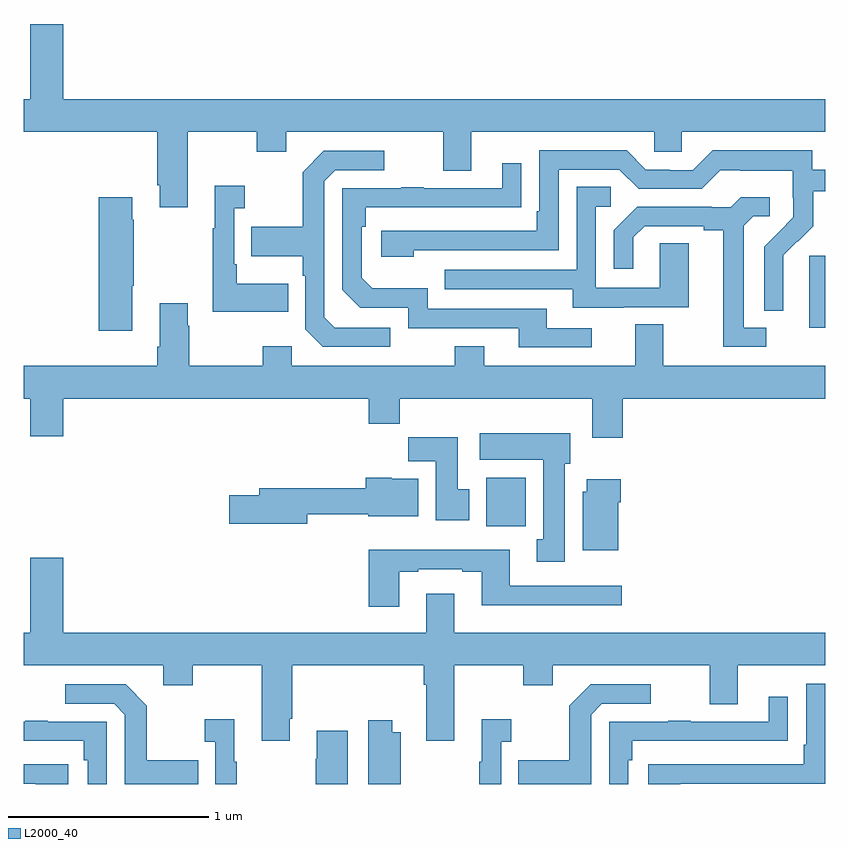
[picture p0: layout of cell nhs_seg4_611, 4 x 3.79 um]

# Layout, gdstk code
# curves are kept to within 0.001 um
import gdstk
lib = gdstk.Library(unit=1e-6, precision=1e-09)
def R(c, l, rs):  # rectangles x0, y0, x1, y1
    for r in rs: c.add(gdstk.rectangle(r[:2], r[2:], *l))
def P(c, l, *ps):  # polygons
    for p in ps: c.add(gdstk.Polygon(p, *l))
L2000_40 = (2000, 40)

nhs_seg4_611 = lib.new_cell('nhs_seg4_611')
R(nhs_seg4_611, L2000_40, [(143.309,792.188,143.506,792.43), (144.92,793.178,145,793.539)])
P(nhs_seg4_611, L2000_40, [(141.196,794.695),(141.032,794.695),(141.032,794.32),(141,794.32),(141,794.156),(141.665,794.156),(141.665,793.891),(141.677,793.891),(141.677,793.779),(141.817,793.779),(141.817,794.156),(142.162,794.156),(142.162,794.057),(142.309,794.057),(142.309,794.156),(143.093,794.156),(143.093,793.962),(143.233,793.962),(143.233,794.156),(144.147,794.156),(144.147,794.058),(144.285,794.058),(144.285,794.156),(145,794.156),(145,794.32),(141.196,794.32)],
  [(144.792,793.418),(144.791,793.541),(144.861,793.611),(144.864,793.608),(144.941,793.685),(144.941,793.86),(145,793.86),(145,793.968),(144.936,793.968),(144.936,794.065),(144.439,794.065),(144.339,793.965),(144.224,793.965),(144.224,793.968),(144.105,793.968),(144.009,794.064),(143.574,794.064),(143.574,793.759),(143.561,793.759),(143.561,793.662),(142.785,793.662),(142.785,793.532),(142.946,793.532),(142.946,793.566),(143.67,793.566),(143.67,793.968),(143.973,793.968),(144.069,793.872),(144.384,793.872),(144.477,793.965),(144.577,793.965),(144.577,793.961),(144.84,793.961),(144.84,793.827),(144.842,793.827),(144.842,793.73),(144.696,793.582),(144.696,793.264),(144.792,793.264)],
  [(142.828,793.179),(142.551,793.179),(142.5,793.23),(142.5,793.911),(142.554,793.965),(142.798,793.965),(142.798,794.061),(142.497,794.061),(142.392,793.955),(142.392,793.683),(142.135,793.683),(142.135,793.535),(142.392,793.535),(142.392,793.439),(142.404,793.439),(142.404,793.17),(142.491,793.083),(142.828,793.083)],
  [(143.836,793.176),(143.611,793.176),(143.611,793.272),(143.016,793.272),(143.016,793.375),(142.739,793.375),(142.686,793.428),(142.686,793.682),(142.706,793.682),(142.706,793.779),(143.483,793.78),(143.483,793.999),(143.387,793.999),(143.387,793.875),(142.997,793.875),(142.997,793.88),(142.885,793.88),(142.885,793.875),(142.59,793.875),(142.59,793.368),(142.68,793.278),(142.92,793.278),(142.92,793.176),(143.471,793.176),(143.471,793.08),(143.836,793.08)],
  [(142.319,793.399),(142.063,793.399),(142.063,793.495),(142.05,793.495),(142.05,793.775),(142.102,793.775),(142.102,793.888),(141.953,793.888),(141.953,793.675),(141.942,793.675),(141.942,793.259),(142.319,793.259)],
  [(143.995,793.281),(144.319,793.281),(144.319,793.601),(144.174,793.601),(144.174,793.377),(143.856,793.377),(143.856,793.782),(143.929,793.782),(143.929,793.883),(143.76,793.883),(143.76,793.467),(143.101,793.467),(143.101,793.371),(143.741,793.371),(143.741,793.277),(143.995,793.277)],
  [(141.541,793.387),(141.549,793.387),(141.549,793.718),(141.541,793.718),(141.541,793.831),(141.374,793.831),(141.374,793.164),(141.541,793.164)],
  [(144.706,793.179),(144.595,793.179),(144.595,793.687),(144.642,793.734),(144.724,793.734),(144.724,793.831),(144.58,793.831),(144.528,793.779),(144.434,793.779),(144.434,793.782),(144.062,793.782),(143.946,793.666),(143.946,793.473),(144.043,793.473),(144.043,793.629),(144.1,793.686),(144.395,793.686),(144.395,793.664),(144.491,793.664),(144.491,793.083),(144.706,793.083)],
  [(143.99,792.824),(145,792.824),(145,792.988),(144.193,792.988),(144.193,793.196),(144.053,793.196),(144.053,792.988),(143.299,792.988),(143.299,793.087),(143.152,793.087),(143.152,792.988),(142.338,792.988),(142.338,793.087),(142.192,793.087),(142.192,792.988),(141.825,792.988),(141.825,793.187),(141.817,793.187),(141.817,793.3),(141.677,793.3),(141.677,793.084),(141.665,793.084),(141.665,792.988),(141,792.988),(141,792.824),(141.032,792.824),(141.032,792.636),(141.196,792.636),(141.196,792.824),(142.721,792.824),(142.721,792.7),(142.877,792.7),(142.877,792.824),(143.837,792.824),(143.837,792.63),(143.99,792.63)],
  [(143.701,792.498),(143.728,792.498),(143.728,792.652),(143.277,792.652),(143.277,792.518),(143.594,792.518),(143.594,792.122),(143.561,792.122),(143.561,792.009),(143.701,792.009)],
  [(143.224,792.372),(143.167,792.372),(143.167,792.631),(142.918,792.631),(142.918,792.512),(143.057,792.512),(143.057,792.216),(143.224,792.216)],
  [(142.414,792.247),(142.718,792.247),(142.718,792.236),(142.969,792.236),(142.969,792.424),(142.836,792.424),(142.836,792.43),(142.706,792.43),(142.706,792.376),(142.175,792.376),(142.175,792.342),(142.026,792.342),(142.026,792.2),(142.414,792.2)],
  [(143.968,792.308),(143.981,792.308),(143.981,792.421),(143.81,792.421),(143.81,792.36),(143.789,792.36),(143.789,792.068),(143.968,792.068)],
  [(142.873,791.961),(142.969,791.961),(142.969,791.973),(143.189,791.973),(143.189,791.961),(143.285,791.961),(143.285,791.792),(143.986,791.792),(143.986,791.889),(143.425,791.889),(143.425,792.07),(142.721,792.07),(142.721,791.784),(142.873,791.784)],
  [(142.327,791.227),(142.34,791.227),(142.34,791.492),(142.997,791.492),(142.997,791.396),(143.009,791.396),(143.009,791.115),(143.149,791.115),(143.149,791.492),(143.494,791.492),(143.494,791.393),(143.641,791.393),(143.641,791.492),(144.425,791.492),(144.425,791.298),(144.565,791.298),(144.565,791.492),(145,791.492),(145,791.656),(143.149,791.656),(143.149,791.851),(143.009,791.851),(143.009,791.656),(141.196,791.656),(141.196,792.031),(141.032,792.031),(141.032,791.656),(141,791.656),(141,791.492),(141.695,791.492),(141.695,791.393),(141.843,791.393),(141.843,791.492),(142.187,791.492),(142.187,791.115),(142.327,791.115)],
  [(144.278,790.902),(145,790.902),(145,791.4),(144.906,791.4),(144.906,791.095),(144.893,791.095),(144.893,790.998),(144.117,790.998),(144.117,790.9),(144.278,790.9)],
  [(141.869,791.019),(141.613,791.019),(141.613,791.291),(141.507,791.397),(141.207,791.397),(141.207,791.301),(141.45,791.301),(141.504,791.247),(141.504,790.9),(141.869,790.9)],
  [(143.832,791.247),(143.886,791.301),(144.13,791.301),(144.13,791.397),(143.829,791.397),(143.724,791.291),(143.724,791.019),(143.467,791.019),(143.467,790.9),(143.832,790.9)],
  [(144.018,791.018),(144.038,791.018),(144.038,791.115),(144.713,791.115),(144.713,791.116),(144.815,791.116),(144.815,791.335),(144.719,791.335),(144.719,791.211),(144.329,791.211),(144.329,791.216),(144.217,791.216),(144.217,791.211),(143.922,791.211),(143.922,790.9),(144.018,790.9)],
  [(143.382,791.111),(143.434,791.111),(143.434,791.224),(143.285,791.224),(143.285,791.011),(143.274,791.011),(143.274,790.9),(143.382,790.9)],
  [(142.063,791.011),(142.051,791.011),(142.051,791.224),(141.903,791.224),(141.903,791.111),(141.954,791.111),(141.954,790.9),(142.063,790.9)],
  [(142.881,791.158),(142.84,791.158),(142.84,791.218),(142.718,791.218),(142.718,790.9),(142.881,790.9)],
  [(141.414,791.211),(141.119,791.211),(141.119,791.216),(141.007,791.216),(141.007,791.211),(141,791.211),(141,791.115),(141.298,791.115),(141.298,791.018),(141.318,791.018),(141.318,790.9),(141.414,790.9)],
  [(142.618,791.167),(142.463,791.167),(142.463,791.027),(142.456,791.027),(142.456,790.9),(142.618,790.9)],
  [(141.22,790.998),(141,790.998),(141,790.902),(141.059,790.902),(141.059,790.9),(141.22,790.9)])

lib.write_gds('nhs_seg4_611.gds')
